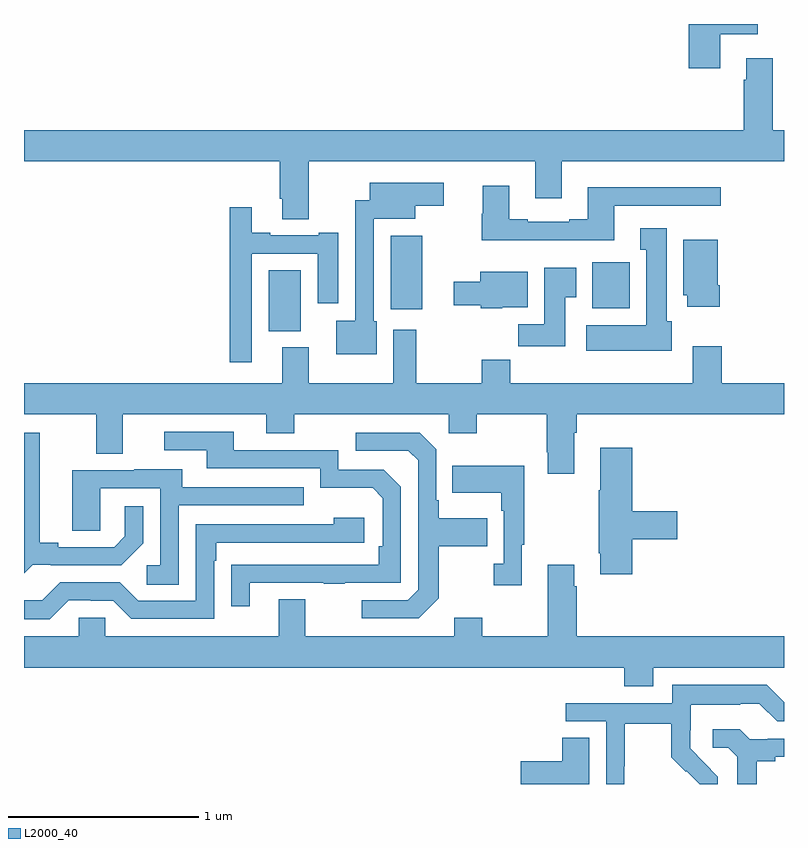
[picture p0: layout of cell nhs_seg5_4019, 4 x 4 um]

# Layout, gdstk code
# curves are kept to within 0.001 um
import gdstk
lib = gdstk.Library(unit=1e-6, precision=1e-09)
def R(c, l, rs):  # rectangles x0, y0, x1, y1
    for r in rs: c.add(gdstk.rectangle(r[:2], r[2:], *l))
def P(c, l, *ps):  # polygons
    for p in ps: c.add(gdstk.Polygon(p, *l))
L2000_40 = (2000, 40)

nhs_seg5_4019 = lib.new_cell('nhs_seg5_4019')
R(nhs_seg5_4019, L2000_40, [(348.287,873.182,348.457,873.502), (348.929,873.299,349.096,873.685), (349.991,873.302,350.188,873.544)])
P(nhs_seg5_4019, L2000_40, [(350.665,874.745),(350.863,874.745),(350.863,874.799),(350.498,874.799),(350.498,874.566),(350.665,874.566)],
  [(347,874.076),(348.347,874.076),(348.347,873.88),(348.359,873.88),(348.359,873.772),(348.499,873.772),(348.499,874.076),(349.691,874.076),(349.691,873.882),(349.831,873.882),(349.831,874.076),(351,874.076),(351,874.24),(350.941,874.24),(350.941,874.618),(350.801,874.618),(350.801,874.505),(350.789,874.505),(350.789,874.24),(347,874.24)],
  [(348.856,873.234),(348.84,873.234),(348.84,873.773),(349.06,873.773),(349.06,873.842),(349.21,873.842),(349.21,873.964),(348.821,873.964),(348.821,873.872),(348.744,873.872),(348.744,873.238),(348.644,873.238),(348.644,873.062),(348.856,873.062)],
  [(350.107,873.843),(350.668,873.843),(350.668,873.94),(349.967,873.94),(349.967,873.772),(349.871,873.772),(349.871,873.759),(349.651,873.759),(349.651,873.772),(349.555,873.772),(349.555,873.949),(349.415,873.949),(349.415,873.801),(349.408,873.801),(349.408,873.662),(350.107,873.662)],
  [(348.198,873.591),(348.545,873.591),(348.545,873.33),(348.655,873.33),(348.655,873.7),(348.551,873.7),(348.551,873.687),(348.295,873.687),(348.295,873.7),(348.199,873.7),(348.199,873.835),(348.082,873.835),(348.082,873.018),(348.198,873.018)],
  [(350.41,873.234),(350.383,873.234),(350.383,873.724),(350.243,873.724),(350.243,873.611),(350.276,873.611),(350.276,873.214),(349.959,873.214),(349.959,873.08),(350.41,873.08)],
  [(350.663,873.424),(350.65,873.424),(350.65,873.664),(350.471,873.664),(350.471,873.372),(350.492,873.372),(350.492,873.312),(350.663,873.312)],
  [(349.849,873.361),(349.906,873.361),(349.906,873.517),(349.739,873.517),(349.739,873.22),(349.6,873.22),(349.6,873.102),(349.849,873.102)],
  [(349.518,873.308),(349.651,873.308),(349.651,873.496),(349.4,873.496),(349.4,873.442),(349.263,873.442),(349.263,873.32),(349.404,873.32),(349.404,873.302),(349.518,873.302)],
  [(349.408,873.032),(349.408,872.908),(349.065,872.908),(349.065,873.19),(348.944,873.19),(348.944,872.908),(348.499,872.908),(348.499,873.097),(348.359,873.097),(348.359,872.908),(347,872.908),(347,872.744),(347.381,872.744),(347.381,872.536),(347.521,872.536),(347.521,872.744),(348.275,872.744),(348.275,872.645),(348.423,872.645),(348.423,872.744),(349.236,872.744),(349.236,872.645),(349.383,872.645),(349.383,872.744),(349.75,872.744),(349.75,872.545),(349.757,872.545),(349.757,872.433),(349.897,872.433),(349.897,872.648),(349.91,872.648),(349.91,872.744),(351,872.744),(351,872.908),(350.672,872.908),(350.672,873.103),(350.519,873.103),(350.519,872.908),(349.559,872.908),(349.559,873.032)],
  [(348.187,871.857),(348.577,871.857),(348.577,871.852),(348.689,871.852),(348.689,871.857),(348.984,871.857),(348.984,872.364),(348.894,872.454),(348.654,872.454),(348.654,872.556),(348.103,872.556),(348.103,872.652),(347.739,872.652),(347.739,872.556),(347.963,872.556),(347.963,872.46),(348.558,872.46),(348.558,872.357),(348.835,872.357),(348.888,872.304),(348.888,872.05),(348.868,872.05),(348.868,871.953),(348.091,871.952),(348.091,871.734),(348.187,871.734)],
  [(349.183,871.777),(349.183,872.05),(349.439,872.05),(349.439,872.197),(349.183,872.197),(349.183,872.293),(349.17,872.293),(349.17,872.562),(349.083,872.649),(348.747,872.649),(348.747,872.553),(349.023,872.553),(349.074,872.502),(349.074,871.821),(349.02,871.767),(348.777,871.767),(348.777,871.671),(349.077,871.671)],
  [(347.046,871.953),(347.14,871.953),(347.14,871.95),(347.512,871.95),(347.628,872.066),(347.628,872.26),(347.531,872.26),(347.531,872.103),(347.474,872.046),(347.179,872.046),(347.179,872.069),(347.083,872.069),(347.083,872.649),(347,872.649),(347,871.907)],
  [(350.201,872.087),(350.437,872.087),(350.437,872.234),(350.201,872.234),(350.201,872.569),(350.033,872.569),(350.033,872.345),(350.026,872.345),(350.026,872.014),(350.033,872.014),(350.033,871.902),(350.201,871.902)],
  [(349.621,872.057),(349.633,872.057),(349.633,872.473),(349.255,872.473),(349.255,872.333),(349.512,872.333),(349.512,872.237),(349.524,872.237),(349.524,871.958),(349.473,871.958),(349.473,871.845),(349.621,871.845)],
  [(347.814,872.265),(348.473,872.265),(348.473,872.361),(347.833,872.361),(347.833,872.455),(347.579,872.455),(347.579,872.451),(347.255,872.451),(347.255,872.131),(347.4,872.131),(347.4,872.355),(347.718,872.355),(347.718,871.95),(347.646,871.95),(347.646,871.849),(347.814,871.849)],
  [(347.235,871.767),(347.351,871.767),(347.351,871.764),(347.469,871.764),(347.565,871.668),(348,871.668),(348,871.973),(348.013,871.973),(348.013,872.07),(348.79,872.07),(348.79,872.2),(348.629,872.2),(348.629,872.166),(347.904,872.166),(347.904,871.764),(347.601,871.764),(347.505,871.86),(347.19,871.86),(347.097,871.767),(347,871.767),(347,871.667),(347.135,871.667)],
  [(350.311,871.412),(351,871.412),(351,871.576),(349.91,871.576),(349.91,871.841),(349.897,871.841),(349.897,871.954),(349.757,871.954),(349.757,871.576),(349.413,871.576),(349.413,871.675),(349.265,871.675),(349.265,871.576),(348.481,871.576),(348.481,871.771),(348.341,871.771),(348.341,871.576),(347.427,871.576),(347.427,871.674),(347.289,871.674),(347.289,871.576),(347,871.576),(347,871.412),(350.159,871.412),(350.159,871.313),(350.311,871.313)],
  [(350.16,870.892),(350.163,870.892),(350.163,871.116),(350.407,871.116),(350.407,870.941),(350.484,870.864),(350.487,870.867),(350.556,870.799),(350.652,870.799),(350.652,870.838),(350.506,870.986),(350.506,871.083),(350.508,871.083),(350.508,871.217),(350.771,871.217),(350.771,871.221),(350.871,871.221),(350.964,871.128),(351,871.128),(351,871.23),(350.909,871.321),(350.412,871.321),(350.412,871.224),(349.851,871.224),(349.851,871.128),(350.064,871.128),(350.064,870.799),(350.16,870.799)],
  [(350.857,870.92),(350.953,870.92),(350.953,870.942),(351,870.942),(351,871.038),(350.914,871.038),(350.914,871.035),(350.82,871.035),(350.768,871.087),(350.625,871.087),(350.625,870.99),(350.706,870.99),(350.753,870.943),(350.753,870.799),(350.857,870.799)],
  [(349.975,871.043),(349.832,871.043),(349.832,870.92),(349.614,870.92),(349.614,870.799),(349.975,870.799)])

lib.write_gds('nhs_seg5_4019.gds')
